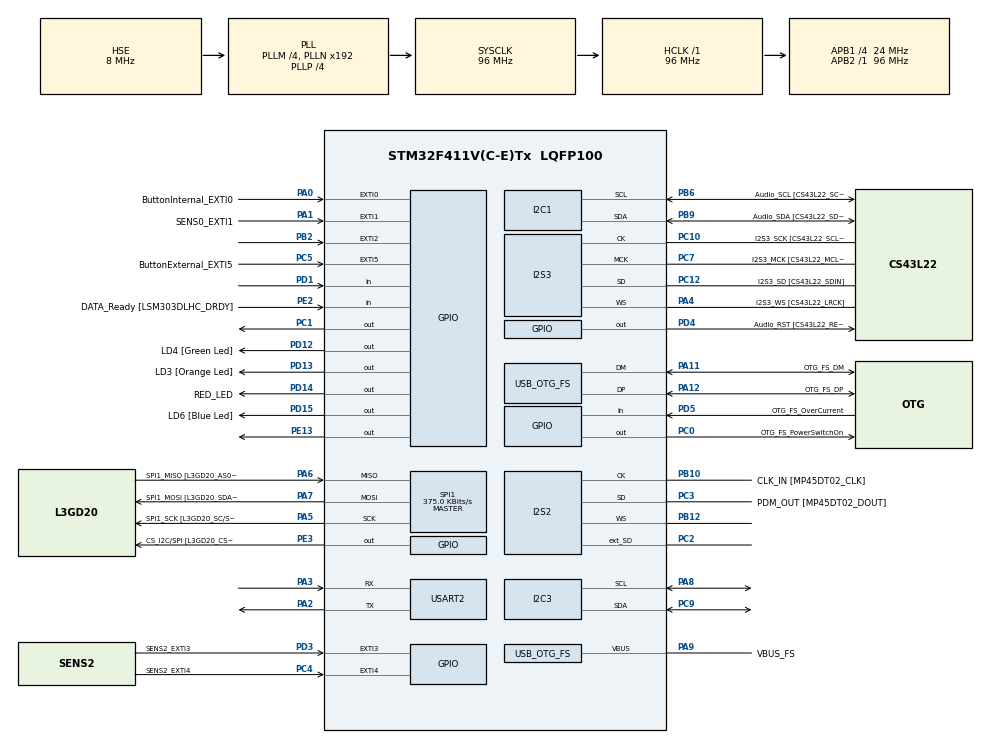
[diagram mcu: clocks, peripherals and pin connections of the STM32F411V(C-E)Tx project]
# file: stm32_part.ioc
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I2S2.AudioFreq=I2S_AUDIOFREQ_96K
I2S2.ErrorAudioFreq=0.15 %
I2S2.FullDuplexMode=I2S_FULLDUPLEXMODE_ENABLE
I2S2.Instance=SPI$Index
I2S2.RealAudioFreq=96.153 KHz
I2S2.VirtualMode=I2S_MODE_MASTER
I2S3.AudioFreq=I2S_AUDIOFREQ_96K
I2S3.ErrorAudioFreq=-6.99 %
I2S3.FullDuplexMode=I2S_FULLDUPLEXMODE_DISABLE
I2S3.Instance=SPI$Index
I2S3.RealAudioFreq=89.285 KHz
I2S3.VirtualMode=I2S_MODE_MASTER
Mcu.Family=STM32F4
Mcu.Name=STM32F411V(C-E)Tx
Mcu.Package=LQFP100
NVIC.EXTI0_IRQn=true\:0\:0\:false\:false\:true\:true\:true\:true
NVIC.EXTI1_IRQn=true\:0\:0\:false\:false\:true\:true\:true\:true
NVIC.EXTI2_IRQn=true\:0\:0\:false\:false\:true\:true\:true\:true
NVIC.EXTI3_IRQn=true\:0\:0\:false\:false\:true\:true\:true\:true
NVIC.EXTI4_IRQn=true\:0\:0\:false\:false\:true\:true\:true\:true
NVIC.EXTI9_5_IRQn=true\:0\:0\:false\:false\:true\:true\:true\:true
NVIC.OTG_FS_IRQn=true\:0\:0\:false\:false\:true\:true\:true\:true
NVIC.PriorityGroup=NVIC_PRIORITYGROUP_0
PA0-WKUP.GPIO_Label=ButtonInternal_EXTI0
PA0-WKUP.Signal=GPXTI0
PA1.GPIO_Label=SENS0_EXTI1
PA1.Signal=GPXTI1
PA10.GPIO_Label=OTG_FS_ID
PA10.Signal=USB_OTG_FS_ID
PA11.GPIO_Label=OTG_FS_DM
PA11.Mode=Host_Only
PA11.Signal=USB_OTG_FS_DM
PA12.GPIO_Label=OTG_FS_DP
PA12.Mode=Host_Only
PA12.Signal=USB_OTG_FS_DP
PA13.GPIO_Label=SWDIO
PA13.Mode=Serial_Wire
PA13.Signal=SYS_JTMS-SWDIO
PA14.GPIO_Label=SWCLK
PA14.Mode=Serial_Wire
PA14.Signal=SYS_JTCK-SWCLK
PA2.Mode=Asynchronous
PA2.Signal=USART2_TX
PA3.Mode=Asynchronous
PA3.Signal=USART2_RX
PA4.GPIO_Label=I2S3_WS [CS43L22_LRCK]
PA4.GPIO_Mode=GPIO_MODE_AF_PP
PA4.GPIO_PuPd=GPIO_NOPULL
PA4.GPIO_Speed=GPIO_SPEED_FREQ_LOW
PA4.Mode=Half_Duplex_Master
PA4.Signal=I2S3_WS
PA5.GPIO_Label=SPI1_SCK [L3GD20_SC/SPC]
PA5.GPIO_PuPd=GPIO_PULLUP
PA5.GPIO_Speed=GPIO_SPEED_FREQ_HIGH
PA5.Mode=Full_Duplex_Master
PA5.Signal=SPI1_SCK
PA6.GPIO_Label=SPI1_MISO [L3GD20_AS0/SDO]
PA6.GPIO_PuPd=GPIO_PULLUP
PA6.GPIO_Speed=GPIO_SPEED_FREQ_HIGH
PA6.Mode=Full_Duplex_Master
PA6.Signal=SPI1_MISO
PA7.GPIO_Label=SPI1_MOSI [L3GD20_SDA/SDI/SDO]
PA7.GPIO_PuPd=GPIO_PULLUP
PA7.GPIO_Speed=GPIO_SPEED_FREQ_HIGH
PA7.Mode=Full_Duplex_Master
PA7.Signal=SPI1_MOSI
PA8.Mode=I2C
PA8.Signal=I2C3_SCL
PA9.GPIO_Label=VBUS_FS
PA9.Mode=Activate_VBUS
PA9.Signal=USB_OTG_FS_VBUS
PB10.GPIO_Label=CLK_IN [MP45DT02_CLK]
PB10.Mode=Full_Duplex_Master
PB10.Signal=I2S2_CK
PB12.Mode=Full_Duplex_Master
PB12.Signal=I2S2_WS
PB2.Signal=GPXTI2
PB3.GPIO_Label=SWO
PB3.Signal=SYS_JTDO-SWO
PB6.GPIO_Label=Audio_SCL [CS43L22_SCL]
PB6.GPIO_Mode=GPIO_MODE_AF_OD
PB6.GPIO_Pu=GPIO_PULLUP
PB6.GPIO_PuPd=GPIO_NOPULL
PB6.GPIO_Speed=GPIO_SPEED_FREQ_LOW
PB6.Mode=I2C
PB6.Signal=I2C1_SCL
PB9.GPIO_Label=Audio_SDA [CS43L22_SDA]
PB9.GPIO_Mode=GPIO_MODE_AF_OD
PB9.GPIO_Pu=GPIO_PULLUP
PB9.GPIO_PuPd=GPIO_NOPULL
PB9.GPIO_Speed=GPIO_SPEED_FREQ_LOW
PB9.Mode=I2C
PB9.Signal=I2C1_SDA
PC0.GPIO_Label=OTG_FS_PowerSwitchOn
PC0.PinState=GPIO_PIN_SET
PC0.Signal=GPIO_Output
PC1.GPIO_Speed=GPIO_SPEED_FREQ_HIGH
PC1.Signal=GPIO_Output
PC10.GPIO_Label=I2S3_SCK [CS43L22_SCLK]
PC10.GPIO_Mode=GPIO_MODE_AF_PP
PC10.GPIO_PuPd=GPIO_NOPULL
PC10.GPIO_Speed=GPIO_SPEED_FREQ_LOW
PC10.Mode=Half_Duplex_Master
PC10.Signal=I2S3_CK
PC12.GPIO_Label=I2S3_SD [CS43L22_SDIN]
PC12.GPIO_Mode=GPIO_MODE_AF_PP
PC12.GPIO_PuPd=GPIO_NOPULL
PC12.GPIO_Speed=GPIO_SPEED_FREQ_LOW
PC12.Mode=Half_Duplex_Master
PC12.Signal=I2S3_SD
PC14-OSC32_IN.GPIO_Label=PC14-OSC32_IN
PC14-OSC32_IN.Signal=RCC_OSC32_IN
PC15-OSC32_OUT.GPIO_Label=PC15-OSC32_OUT
PC15-OSC32_OUT.Signal=RCC_OSC32_OUT
PC2.Mode=Full_Duplex_Master
PC2.Signal=I2S2_ext_SD
PC3.GPIO_Label=PDM_OUT [MP45DT02_DOUT]
PC3.Mode=Full_Duplex_Master
PC3.Signal=I2S2_SD
PC4.GPIO_Label=SENS2_EXTI4
PC4.Signal=GPXTI4
PC5.GPIO_Label=ButtonExternal_EXTI5
PC5.GPIO_ModeDefaultEXTI=GPIO_MODE_IT_FALLING
PC5.Signal=GPXTI5
PC7.GPIO_Label=I2S3_MCK [CS43L22_MCLK]
PC7.GPIO_Mode=GPIO_MODE_AF_PP
PC7.GPIO_PuPd=GPIO_NOPULL
PC7.GPIO_Speed=GPIO_SPEED_FREQ_LOW
PC7.Mode=Master_Clock_Activated
PC7.Signal=I2S3_MCK
PC9.Mode=I2C
PC9.Signal=I2C3_SDA
PD1.GPIO_PuPd=GPIO_PULLDOWN
PD1.Signal=GPIO_Input
PD12.GPIO_Label=LD4 [Green Led]
PD12.GPIO_PuPd=GPIO_NOPULL
PD12.GPIO_Speed=GPIO_SPEED_FREQ_LOW
PD12.Signal=GPIO_Output
PD13.GPIO_Label=LD3 [Orange Led]
PD13.GPIO_PuPd=GPIO_NOPULL
PD13.GPIO_Speed=GPIO_SPEED_FREQ_LOW
PD13.Signal=GPIO_Output
PD14.GPIO_Label=RED_LED
PD14.GPIO_PuPd=GPIO_NOPULL
PD14.GPIO_Speed=GPIO_SPEED_FREQ_LOW
PD14.Signal=GPIO_Output
PD15.GPIO_Label=LD6 [Blue Led]
PD15.GPIO_PuPd=GPIO_NOPULL
PD15.GPIO_Speed=GPIO_SPEED_FREQ_LOW
PD15.Signal=GPIO_Output
PD3.GPIO_Label=SENS2_EXTI3
PD3.GPIO_ModeDefaultEXTI=GPIO_MODE_IT_FALLING
PD3.Signal=GPXTI3
PD4.GPIO_Label=Audio_RST [CS43L22_RESET]
PD4.Signal=GPIO_Output
PD5.GPIO_Label=OTG_FS_OverCurrent
PD5.Signal=GPIO_Input
PE13.Signal=GPIO_Output
PE2.GPIO_Label=DATA_Ready [LSM303DLHC_DRDY]
PE2.Signal=GPIO_Input
PE3.GPIO_Label=CS_I2C/SPI [L3GD20_CS_I2C/SPI]
PE3.Signal=GPIO_Output
PH0\ -\ OSC_IN.GPIO_Label=PH0-OSC_IN
PH0\ -\ OSC_IN.Mode=HSE-External-Oscillator
PH0\ -\ OSC_IN.Signal=RCC_OSC_IN
PH1\ -\ OSC_OUT.GPIO_Label=PH1-OSC_OUT
PH1\ -\ OSC_OUT.Mode=HSE-External-Oscillator
PH1\ -\ OSC_OUT.Signal=RCC_OSC_OUT
ProjectManager.HeapSize=0x200
ProjectManager.StackSize=0x400
ProjectManager.TargetToolchain=STM32CubeIDE
RCC.48MHZClocksFreq_Value=48000000
RCC.AHBFreq_Value=96000000
RCC.APB1CLKDivider=RCC_HCLK_DIV4
RCC.APB1Freq_Value=24000000
RCC.APB1TimFreq_Value=48000000
RCC.APB2Freq_Value=96000000
RCC.APB2TimFreq_Value=96000000
RCC.CortexFreq_Value=96000000
RCC.HCLKFreq_Value=96000000
RCC.HSE_VALUE=8000000
RCC.HSI_VALUE=16000000
RCC.LSE_VALUE=32768
RCC.PLLI2SM=5
RCC.PLLI2SN=200
RCC.PLLM=4
RCC.PLLP=RCC_PLLP_DIV4
RCC.PLLQ=8
RCC.SYSCLKFreq_VALUE=96000000
RCC.SYSCLKSource=RCC_SYSCLKSOURCE_PLLCLK
RCC.VCOOutputFreq_Value=384000000
SPI1.BaudRatePrescaler=SPI_BAUDRATEPRESCALER_256
SPI1.CLKPhase=SPI_PHASE_2EDGE
SPI1.CLKPolarity=SPI_POLARITY_HIGH
SPI1.CalculateBaudRate=375.0 KBits/s
SPI1.Direction=SPI_DIRECTION_2LINES
SPI1.FirstBit=SPI_FIRSTBIT_LSB
SPI1.Mode=SPI_MODE_MASTER
SPI1.VirtualType=VM_MASTER
USART2.VirtualMode=VM_ASYNC
USB_HOST.BSP.number=1
USB_HOST.USBH_HandleTypeDef=hUsbHostFS
USB_HOST.VirtualModeFS=Cdc
USB_HOST0.BSP.STBoard=false
USB_HOST0.BSP.api=Unknown
USB_HOST0.BSP.instance=PC0
USB_HOST0.BSP.ip=GPIO
USB_HOST0.BSP.mode=Output
USB_HOST0.BSP.name=Drive_VBUS_FS
USB_HOST0.BSP.solution=PC0
USB_OTG_FS.VirtualMode=Host_Only
USB_OTG_FS.phy_itface=HCD_PHY_EMBEDDED
VP_USB_HOST_VS_USB_HOST_CDC_FS.Mode=CDC_FS
board=STM32F411E-DISCO

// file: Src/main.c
/* USER CODE BEGIN Header */
/**
  ******************************************************************************
  * @file           : main.c
  * @brief          : Main program body
  ******************************************************************************
  * @attention
  *
  * <h2><center>&copy; Copyright (c) 2022 STMicroelectronics.
  * All rights reserved.</center></h2>
  *
  * This software component is licensed by ST under Ultimate Liberty license
  * SLA0044, the "License"; You mAy not use this file except in compliance with
  * the License. You mAy obtain a copy of the License at:
  *                             www.st.com/SLA0044
  *
  ******************************************************************************
  */
/* USER CODE END Header */
#include "main.h"
#include "usb_host.h"

/* USER CODE BEGIN Includes */
#include <stdio.h>
#include "mpu9255.h"
/* USER CODE END Includes */

/* USER CODE BEGIN PM */
MPU9255_t MPU9255;
/* USER CODE END PM */

I2C_HandleTypeDef hi2c1;
I2C_HandleTypeDef hi2c3;

I2S_HandleTypeDef hi2s2;
I2S_HandleTypeDef hi2s3;

SPI_HandleTypeDef hspi1;

UART_HandleTypeDef huart2;

/* USER CODE BEGIN PV */
volatile int algo_info_ready = 0;
volatile int algo_step = 0;
volatile int fire = 0;

volatile int shoot_info_ready = 0;

int _write(int file, char *ptr, int len)
{
	HAL_UART_Transmit(&huart2, (uint8_t*)ptr, len, HAL_MAX_DELAY);
	return len;
}

/* USER CODE END PV */

void SystemClock_Config(void);
void PeriphCommonClock_Config(void);
static void MX_GPIO_Init(void);
static void MX_I2C1_Init(void);
static void MX_I2S2_Init(void);
static void MX_I2S3_Init(void);
static void MX_SPI1_Init(void);
static void MX_USART2_UART_Init(void);
static void MX_I2C3_Init(void);
void MX_USB_HOST_Process(void);

int main(void)
{
  /* USER CODE BEGIN 1 */
	float pitch;
	float yaw;
	float roll;
  /* USER CODE END 1 */

  /* MCU Configuration--------------------------------------------------------*/

  /* Reset of all peripherals, Initializes the Flash interface and the Systick. */
  HAL_Init();

  /* Configure the system clock */
  SystemClock_Config();

/* Configure the peripherals common clocks */
  PeriphCommonClock_Config();

  /* Initialize all configured peripherals */
  MX_GPIO_Init();
  MX_I2C1_Init();
  MX_I2S2_Init();
  MX_I2S3_Init();
  MX_SPI1_Init();
  MX_USB_HOST_Init();
  MX_USART2_UART_Init();
  MX_I2C3_Init();
  /* USER CODE BEGIN 2 */
  while (MPU9255_Init(&hi2c3) == 1);

  static char shoot_send_buf[35];
  static char algo_send_buf[35];
  static char fire_send_buf[35];

  shoot_info_ready = 1;

  //test_values(&hi2c3, &MPU9255);

  int count = 0;

  /* USER CODE END 2 */

  /* Infinite loop */
  while (1)
  {
    MX_USB_HOST_Process();

    /* USER CODE BEGIN 3 */

    // irq are necessary for uart and gyroscope
	// __disable_irq();

	if (shoot_info_ready) {

    	readAll(&hi2c3, &MPU9255);

    	pitch = MPU9255.pitch;
    	yaw = MPU9255.yaw;
    	roll= MPU9255.roll;

		//if (count == 10){
			/*printf("%f\t", yaw);
    	 	 printf("%f\t", pitch);
    	 	 printf("%f\t\n", roll);*/

			sprintf(shoot_send_buf, "angles: %.2f %.2f %.2f\r\n", roll,  pitch,  yaw);
			HAL_UART_Transmit(&huart2,(uint8_t*)shoot_send_buf,sizeof(shoot_send_buf),0xFFFF);
			//count = 0;
    	//}
    	//count++;
		if (fire == 1) {
			static char fire_send_buf[35];
			sprintf(fire_send_buf, "fire: %.2f %.2f %.2f\r\n", roll,  pitch,  yaw);
			HAL_UART_Transmit(&huart2,(uint8_t*)fire_send_buf,sizeof(fire_send_buf),0xFFFF);

			HAL_GPIO_WritePin(GPIOD, GPIO_PIN_12, GPIO_PIN_RESET);
			fire = 0;
		}

	  HAL_GPIO_WritePin(RED_LED_GPIO_Port, RED_LED_Pin, 1);
	  HAL_Delay(500);
	  HAL_GPIO_WritePin(RED_LED_GPIO_Port, RED_LED_Pin, 0);
	}

	if (algo_info_ready) {
		sprintf(algo_send_buf, "step: %d\r\n", algo_step);
		HAL_UART_Transmit(&huart2,(uint8_t*)algo_send_buf,sizeof(algo_send_buf),0xFFFF);

		algo_info_ready = 0;
		algo_step = 0;

		HAL_GPIO_WritePin(RED_LED_GPIO_Port, RED_LED_Pin, 1);
		HAL_Delay(500);
		HAL_GPIO_WritePin(RED_LED_GPIO_Port, RED_LED_Pin, 0);
	}

	// __enable_irq();
  }
  /* USER CODE END 3 */
}

void SystemClock_Config(void)
{
  RCC_OscInitTypeDef RCC_OscInitStruct = {0};
  RCC_ClkInitTypeDef RCC_ClkInitStruct = {0};

  /** Configure the main internal regulator output voltage
  */
  __HAL_RCC_PWR_CLK_ENABLE();
  __HAL_PWR_VOLTAGESCALING_CONFIG(PWR_REGULATOR_VOLTAGE_SCALE1);

  /** Initializes the RCC Oscillators according to the specified parameters
  * in the RCC_OscInitTypeDef structure.
  */
  RCC_OscInitStruct.OscillatorType = RCC_OSCILLATORTYPE_HSE;
  RCC_OscInitStruct.HSEState = RCC_HSE_ON;
  RCC_OscInitStruct.PLL.PLLState = RCC_PLL_ON;
  RCC_OscInitStruct.PLL.PLLSource = RCC_PLLSOURCE_HSE;
  RCC_OscInitStruct.PLL.PLLM = 4;
  RCC_OscInitStruct.PLL.PLLN = 192;
  RCC_OscInitStruct.PLL.PLLP = RCC_PLLP_DIV4;
  RCC_OscInitStruct.PLL.PLLQ = 8;
  if (HAL_RCC_OscConfig(&RCC_OscInitStruct) != HAL_OK)
  {
    Error_Handler();
  }

  /** Initializes the CPU, AHB and APB buses clocks
  */
  RCC_ClkInitStruct.ClockType = RCC_CLOCKTYPE_HCLK|RCC_CLOCKTYPE_SYSCLK
                              |RCC_CLOCKTYPE_PCLK1|RCC_CLOCKTYPE_PCLK2;
  RCC_ClkInitStruct.SYSCLKSource = RCC_SYSCLKSOURCE_PLLCLK;
  RCC_ClkInitStruct.AHBCLKDivider = RCC_SYSCLK_DIV1;
  RCC_ClkInitStruct.APB1CLKDivider = RCC_HCLK_DIV4;
  RCC_ClkInitStruct.APB2CLKDivider = RCC_HCLK_DIV1;

  if (HAL_RCC_ClockConfig(&RCC_ClkInitStruct, FLASH_LATENCY_3) != HAL_OK)
  {
    Error_Handler();
  }
}

void PeriphCommonClock_Config(void)
{
  RCC_PeriphCLKInitTypeDef PeriphClkInitStruct = {0};

  /** Initializes the peripherals clock
  */
  PeriphClkInitStruct.PeriphClockSelection = RCC_PERIPHCLK_I2S;
  PeriphClkInitStruct.PLLI2S.PLLI2SN = 200;
  PeriphClkInitStruct.PLLI2S.PLLI2SM = 5;
  PeriphClkInitStruct.PLLI2S.PLLI2SR = 2;
  if (HAL_RCCEx_PeriphCLKConfig(&PeriphClkInitStruct) != HAL_OK)
  {
    Error_Handler();
  }
}

static void MX_I2C1_Init(void)
{

  hi2c1.Instance = I2C1;
  hi2c1.Init.ClockSpeed = 100000;
  hi2c1.Init.DutyCycle = I2C_DUTYCYCLE_2;
  hi2c1.Init.OwnAddress1 = 0;
  hi2c1.Init.AddressingMode = I2C_ADDRESSINGMODE_7BIT;
  hi2c1.Init.DualAddressMode = I2C_DUALADDRESS_DISABLE;
  hi2c1.Init.OwnAddress2 = 0;
  hi2c1.Init.GeneralCallMode = I2C_GENERALCALL_DISABLE;
  hi2c1.Init.NoStretchMode = I2C_NOSTRETCH_DISABLE;
  if (HAL_I2C_Init(&hi2c1) != HAL_OK)
  {
    Error_Handler();
  }

}

static void MX_I2C3_Init(void)
{

  hi2c3.Instance = I2C3;
  hi2c3.Init.ClockSpeed = 100000;
  hi2c3.Init.DutyCycle = I2C_DUTYCYCLE_2;
  hi2c3.Init.OwnAddress1 = 0;
  hi2c3.Init.AddressingMode = I2C_ADDRESSINGMODE_7BIT;
  hi2c3.Init.DualAddressMode = I2C_DUALADDRESS_DISABLE;
  hi2c3.Init.OwnAddress2 = 0;
  hi2c3.Init.GeneralCallMode = I2C_GENERALCALL_DISABLE;
  hi2c3.Init.NoStretchMode = I2C_NOSTRETCH_DISABLE;
  if (HAL_I2C_Init(&hi2c3) != HAL_OK)
  {
    Error_Handler();
  }

}

static void MX_I2S2_Init(void)
{

  hi2s2.Instance = SPI2;
  hi2s2.Init.Mode = I2S_MODE_MASTER_TX;
  hi2s2.Init.Standard = I2S_STANDARD_PHILIPS;
  hi2s2.Init.DataFormat = I2S_DATAFORMAT_16B;
  hi2s2.Init.MCLKOutput = I2S_MCLKOUTPUT_DISABLE;
  hi2s2.Init.AudioFreq = I2S_AUDIOFREQ_96K;
  hi2s2.Init.CPOL = I2S_CPOL_LOW;
  hi2s2.Init.ClockSource = I2S_CLOCK_PLL;
  hi2s2.Init.FullDuplexMode = I2S_FULLDUPLEXMODE_ENABLE;
  if (HAL_I2S_Init(&hi2s2) != HAL_OK)
  {
    Error_Handler();
  }

}

static void MX_I2S3_Init(void)
{

  hi2s3.Instance = SPI3;
  hi2s3.Init.Mode = I2S_MODE_MASTER_TX;
  hi2s3.Init.Standard = I2S_STANDARD_PHILIPS;
  hi2s3.Init.DataFormat = I2S_DATAFORMAT_16B;
  hi2s3.Init.MCLKOutput = I2S_MCLKOUTPUT_ENABLE;
  hi2s3.Init.AudioFreq = I2S_AUDIOFREQ_96K;
  hi2s3.Init.CPOL = I2S_CPOL_LOW;
  hi2s3.Init.ClockSource = I2S_CLOCK_PLL;
  hi2s3.Init.FullDuplexMode = I2S_FULLDUPLEXMODE_DISABLE;
  if (HAL_I2S_Init(&hi2s3) != HAL_OK)
  {
    Error_Handler();
  }

}

static void MX_SPI1_Init(void)
{

  /* SPI1 parameter configuration*/
  hspi1.Instance = SPI1;
  hspi1.Init.Mode = SPI_MODE_MASTER;
  hspi1.Init.Direction = SPI_DIRECTION_2LINES;
  hspi1.Init.DataSize = SPI_DATASIZE_8BIT;
  hspi1.Init.CLKPolarity = SPI_POLARITY_HIGH;
  hspi1.Init.CLKPhase = SPI_PHASE_2EDGE;
  hspi1.Init.NSS = SPI_NSS_SOFT;
  hspi1.Init.BaudRatePrescaler = SPI_BAUDRATEPRESCALER_256;
  hspi1.Init.FirstBit = SPI_FIRSTBIT_LSB;
  hspi1.Init.TIMode = SPI_TIMODE_DISABLE;
  hspi1.Init.CRCCalculation = SPI_CRCCALCULATION_DISABLE;
  hspi1.Init.CRCPolynomial = 10;
  if (HAL_SPI_Init(&hspi1) != HAL_OK)
  {
    Error_Handler();
  }

}

static void MX_USART2_UART_Init(void)
{

  huart2.Instance = USART2;
  huart2.Init.BaudRate = 115200;
  huart2.Init.WordLength = UART_WORDLENGTH_8B;
  huart2.Init.StopBits = UART_STOPBITS_1;
  huart2.Init.Parity = UART_PARITY_NONE;
  huart2.Init.Mode = UART_MODE_TX_RX;
  huart2.Init.HwFlowCtl = UART_HWCONTROL_NONE;
  huart2.Init.OverSampling = UART_OVERSAMPLING_16;
  if (HAL_UART_Init(&huart2) != HAL_OK)
  {
    Error_Handler();
  }

}

static void MX_GPIO_Init(void)
{
  GPIO_InitTypeDef GPIO_InitStruct = {0};

  /* GPIO Ports Clock Enable */
  __HAL_RCC_GPIOE_CLK_ENABLE();
  __HAL_RCC_GPIOC_CLK_ENABLE();
  __HAL_RCC_GPIOH_CLK_ENABLE();
  __HAL_RCC_GPIOA_CLK_ENABLE();
  __HAL_RCC_GPIOB_CLK_ENABLE();
  __HAL_RCC_GPIOD_CLK_ENABLE();

  /*Configure GPIO pin Output Level */
  HAL_GPIO_WritePin(GPIOE, CS_I2C_SPI_Pin|GPIO_PIN_13, GPIO_PIN_RESET);

  /*Configure GPIO pin Output Level */
  HAL_GPIO_WritePin(OTG_FS_PowerSwitchOn_GPIO_Port, OTG_FS_PowerSwitchOn_Pin, GPIO_PIN_SET);

  /*Configure GPIO pin Output Level */
  HAL_GPIO_WritePin(GPIOC, GPIO_PIN_1, GPIO_PIN_RESET);

  /*Configure GPIO pin Output Level */
  HAL_GPIO_WritePin(GPIOD, LD4_Pin|LD3_Pin|RED_LED_Pin|LD6_Pin
                          |Audio_RST_Pin, GPIO_PIN_RESET);

  /*Configure GPIO pin : DATA_Ready_Pin */
  GPIO_InitStruct.Pin = DATA_Ready_Pin;
  GPIO_InitStruct.Mode = GPIO_MODE_INPUT;
  GPIO_InitStruct.Pull = GPIO_NOPULL;
  HAL_GPIO_Init(DATA_Ready_GPIO_Port, &GPIO_InitStruct);

  /*Configure GPIO pins : CS_I2C_SPI_Pin PE13 */
  GPIO_InitStruct.Pin = CS_I2C_SPI_Pin|GPIO_PIN_13;
  GPIO_InitStruct.Mode = GPIO_MODE_OUTPUT_PP;
  GPIO_InitStruct.Pull = GPIO_NOPULL;
  GPIO_InitStruct.Speed = GPIO_SPEED_FREQ_LOW;
  HAL_GPIO_Init(GPIOE, &GPIO_InitStruct);

  /*Configure GPIO pin : OTG_FS_PowerSwitchOn_Pin */
  GPIO_InitStruct.Pin = OTG_FS_PowerSwitchOn_Pin;
  GPIO_InitStruct.Mode = GPIO_MODE_OUTPUT_PP;
  GPIO_InitStruct.Pull = GPIO_NOPULL;
  GPIO_InitStruct.Speed = GPIO_SPEED_FREQ_LOW;
  HAL_GPIO_Init(OTG_FS_PowerSwitchOn_GPIO_Port, &GPIO_InitStruct);

  /*Configure GPIO pin : PC1 */
  GPIO_InitStruct.Pin = GPIO_PIN_1;
  GPIO_InitStruct.Mode = GPIO_MODE_OUTPUT_PP;
  GPIO_InitStruct.Pull = GPIO_NOPULL;
  GPIO_InitStruct.Speed = GPIO_SPEED_FREQ_HIGH;
  HAL_GPIO_Init(GPIOC, &GPIO_InitStruct);

  /*Configure GPIO pins : ButtonInternal_EXTI0_Pin SENS0_EXTI1_Pin */
  GPIO_InitStruct.Pin = ButtonInternal_EXTI0_Pin|SENS0_EXTI1_Pin;
  GPIO_InitStruct.Mode = GPIO_MODE_IT_RISING;
  GPIO_InitStruct.Pull = GPIO_NOPULL;
  HAL_GPIO_Init(GPIOA, &GPIO_InitStruct);

  /*Configure GPIO pin : SENS2_EXTI4_Pin */
  GPIO_InitStruct.Pin = SENS2_EXTI4_Pin;
  GPIO_InitStruct.Mode = GPIO_MODE_IT_RISING;
  GPIO_InitStruct.Pull = GPIO_NOPULL;
  HAL_GPIO_Init(SENS2_EXTI4_GPIO_Port, &GPIO_InitStruct);

  /*Configure GPIO pin : ButtonExternal_EXTI5_Pin */
  GPIO_InitStruct.Pin = ButtonExternal_EXTI5_Pin;
  GPIO_InitStruct.Mode = GPIO_MODE_IT_FALLING;
  GPIO_InitStruct.Pull = GPIO_NOPULL;
  HAL_GPIO_Init(ButtonExternal_EXTI5_GPIO_Port, &GPIO_InitStruct);

  /*Configure GPIO pin : PB2 */
  GPIO_InitStruct.Pin = GPIO_PIN_2;
  GPIO_InitStruct.Mode = GPIO_MODE_IT_RISING;
  GPIO_InitStruct.Pull = GPIO_NOPULL;
  HAL_GPIO_Init(GPIOB, &GPIO_InitStruct);

  /*Configure GPIO pins : LD4_Pin LD3_Pin RED_LED_Pin LD6_Pin
                           Audio_RST_Pin */
  GPIO_InitStruct.Pin = LD4_Pin|LD3_Pin|RED_LED_Pin|LD6_Pin
                          |Audio_RST_Pin;
  GPIO_InitStruct.Mode = GPIO_MODE_OUTPUT_PP;
  GPIO_InitStruct.Pull = GPIO_NOPULL;
  GPIO_InitStruct.Speed = GPIO_SPEED_FREQ_LOW;
  HAL_GPIO_Init(GPIOD, &GPIO_InitStruct);

  /*Configure GPIO pin : PD1 */
  GPIO_InitStruct.Pin = GPIO_PIN_1;
  GPIO_InitStruct.Mode = GPIO_MODE_INPUT;
  GPIO_InitStruct.Pull = GPIO_PULLDOWN;
  HAL_GPIO_Init(GPIOD, &GPIO_InitStruct);

  /*Configure GPIO pin : SENS2_EXTI3_Pin */
  GPIO_InitStruct.Pin = SENS2_EXTI3_Pin;
  GPIO_InitStruct.Mode = GPIO_MODE_IT_FALLING;
  GPIO_InitStruct.Pull = GPIO_NOPULL;
  HAL_GPIO_Init(SENS2_EXTI3_GPIO_Port, &GPIO_InitStruct);

  /*Configure GPIO pin : OTG_FS_OverCurrent_Pin */
  GPIO_InitStruct.Pin = OTG_FS_OverCurrent_Pin;
  GPIO_InitStruct.Mode = GPIO_MODE_INPUT;
  GPIO_InitStruct.Pull = GPIO_NOPULL;
  HAL_GPIO_Init(OTG_FS_OverCurrent_GPIO_Port, &GPIO_InitStruct);

  /* EXTI interrupt init*/
  HAL_NVIC_SetPriority(EXTI0_IRQn, 0, 0);
  HAL_NVIC_EnableIRQ(EXTI0_IRQn);

  HAL_NVIC_SetPriority(EXTI1_IRQn, 0, 0);
  HAL_NVIC_EnableIRQ(EXTI1_IRQn);

  HAL_NVIC_SetPriority(EXTI2_IRQn, 0, 0);
  HAL_NVIC_EnableIRQ(EXTI2_IRQn);

  HAL_NVIC_SetPriority(EXTI3_IRQn, 0, 0);
  HAL_NVIC_EnableIRQ(EXTI3_IRQn);

  HAL_NVIC_SetPriority(EXTI4_IRQn, 0, 0);
  HAL_NVIC_EnableIRQ(EXTI4_IRQn);

  HAL_NVIC_SetPriority(EXTI9_5_IRQn, 0, 0);
  HAL_NVIC_EnableIRQ(EXTI9_5_IRQn);

}

/* USER CODE BEGIN 4 */

void HAL_GPIO_EXTI_Callback(uint16_t GPIO_Pin) {
	static uint32_t last_change_tick;
	if (HAL_GetTick() - last_change_tick < 400)	{
		return;
	}
	last_change_tick = HAL_GetTick();

	if (GPIO_Pin == SENS0_EXTI1_Pin) {
		algo_info_ready = 1;
		algo_step = 0;
	}

	if (GPIO_Pin == SENS2_EXTI4_Pin) {
		algo_info_ready = 1;
		algo_step = 1;
	}

	if (GPIO_Pin == SENS2_EXTI3_Pin) {
		algo_info_ready = 1;
		algo_step = 2;
	}

	if (GPIO_Pin == ButtonExternal_EXTI5_Pin) {
		HAL_GPIO_WritePin(GPIOD, GPIO_PIN_12, GPIO_PIN_SET);
		fire = 1;

		/*static char fire_send_buf[35];
		sprintf(fire_send_buf, "fire\r\n");
		HAL_UART_Transmit(&huart2,(uint8_t*)fire_send_buf,sizeof(fire_send_buf),0xFFFF);*/
	}

	if (GPIO_Pin == ButtonInternal_EXTI0_Pin) {
		static char restart_send_buf[35];
		sprintf(restart_send_buf, "restart\r\n");
		HAL_UART_Transmit(&huart2,(uint8_t*)restart_send_buf,sizeof(restart_send_buf),0xFFFF);
	}
}

/* USER CODE END 4 */

void Error_Handler(void)
{
  __disable_irq();
  while (1)
  {
  }
}
